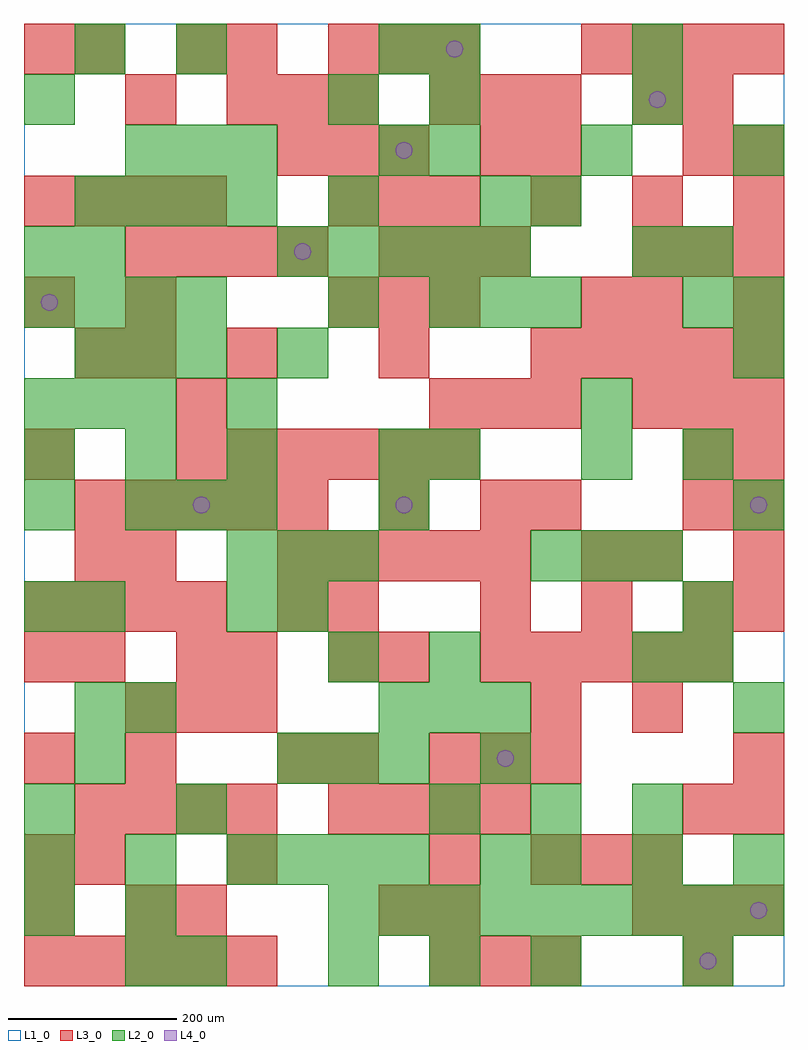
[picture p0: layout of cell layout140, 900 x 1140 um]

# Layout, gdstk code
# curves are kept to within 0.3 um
import gdstk
lib = gdstk.Library(unit=1e-6, precision=1e-09)
def R(c, l, rs):  # rectangles x0, y0, x1, y1
    for r in rs: c.add(gdstk.rectangle(r[:2], r[2:], *l))
def A(c, l, x, y, w, h, nx, ny, dx, dy):  # array of equal rectangles
    R(c, l, [(x+i*dx, y+j*dy, x+i*dx+w, y+j*dy+h) for i in range(nx) for j in range(ny)])
def P(c, l, *ps):  # polygons
    for p in ps: c.add(gdstk.Polygon(p, *l))
L1_0 = (1, 0)
L2_0 = (2, 0)
L3_0 = (3, 0)
L4_0 = (4, 0)

layout140 = lib.new_cell('layout140')
R(layout140, L1_0, [(0,0,900,1140)])
A(layout140, L2_0, 360, 0, 60, 60, 3, 1, 120, 0)
A(layout140, L2_0, 360, 60, 60, 60, 9, 1, 60, 0)
A(layout140, L2_0, 0, 120, 60, 60, 3, 2, 120, 480)
A(layout140, L2_0, 300, 120, 60, 60, 3, 2, 60, 120)
A(layout140, L2_0, 600, 120, 60, 60, 3, 1, 120, 0)
A(layout140, L2_0, 480, 180, 60, 60, 3, 1, 120, 0)
A(layout140, L2_0, 420, 300, 60, 60, 3, 1, 60, 0)
A(layout140, L2_0, 780, 420, 60, 60, 1, 3, 0, 180)
A(layout140, L2_0, 240, 480, 60, 60, 3, 1, 60, 0)
A(layout140, L2_0, 600, 480, 60, 60, 3, 1, 60, 0)
A(layout140, L2_0, 120, 540, 60, 60, 3, 2, 60, 420)
A(layout140, L2_0, 0, 660, 60, 60, 3, 1, 60, 0)
A(layout140, L2_0, 60, 720, 60, 60, 3, 1, 60, 0)
A(layout140, L2_0, 0, 780, 60, 60, 4, 1, 60, 0)
A(layout140, L2_0, 360, 780, 60, 60, 1, 3, 0, 120)
A(layout140, L2_0, 480, 780, 60, 60, 3, 1, 60, 0)
A(layout140, L2_0, 300, 840, 60, 60, 5, 1, 60, 0)
A(layout140, L2_0, 60, 900, 60, 60, 4, 1, 60, 0)
A(layout140, L2_0, 480, 960, 60, 60, 3, 1, 180, 0)
R(layout140, L2_0, [(120,0,180,60), (180,0,240,60), (780,0,840,60), (0,60,60,120), (120,60,180,120), (540,120,600,180), (0,180,60,240), (180,180,240,240), (60,240,120,300), (540,240,600,300), (60,300,120,360), (120,300,180,360), (840,300,900,360), (360,360,420,420), (480,360,540,420), (720,360,780,420), (780,360,840,420), (0,420,60,480), (60,420,120,480), (240,420,300,480), (300,420,360,480), (0,540,60,600), (420,540,480,600), (840,540,900,600), (420,600,480,660), (480,600,540,660), (660,600,720,660), (240,660,300,720), (660,660,720,720), (300,720,360,780), (840,720,900,780), (840,780,900,840), (0,840,60,900), (60,840,120,900), (720,840,780,900), (780,840,840,900), (540,900,600,960), (600,900,660,960), (420,960,480,1020), (0,1020,60,1080), (480,1020,540,1080), (720,1020,780,1080), (60,1080,120,1140), (180,1080,240,1140), (420,1080,480,1140), (480,1080,540,1140), (720,1080,780,1140)])
A(layout140, L3_0, 0, 0, 60, 60, 5, 1, 60, 0)
A(layout140, L3_0, 480, 0, 60, 60, 3, 2, 60, 240)
A(layout140, L3_0, 180, 60, 60, 60, 1, 3, 0, 300)
A(layout140, L3_0, 720, 60, 60, 60, 3, 2, 60, 600)
A(layout140, L3_0, 0, 120, 60, 60, 1, 3, 0, 120)
A(layout140, L3_0, 600, 120, 60, 60, 3, 1, 60, 0)
A(layout140, L3_0, 60, 180, 60, 60, 4, 1, 60, 0)
A(layout140, L3_0, 360, 180, 60, 60, 4, 1, 60, 0)
A(layout140, L3_0, 120, 240, 60, 60, 1, 3, 0, 240)
A(layout140, L3_0, 120, 300, 60, 60, 3, 1, 60, 0)
A(layout140, L3_0, 540, 360, 60, 60, 5, 1, 60, 0)
A(layout140, L3_0, 0, 420, 60, 60, 4, 2, 60, 480)
A(layout140, L3_0, 540, 420, 60, 60, 3, 1, 120, 0)
A(layout140, L3_0, 840, 420, 60, 60, 1, 4, 0, 60)
A(layout140, L3_0, 300, 480, 60, 60, 5, 1, 60, 0)
A(layout140, L3_0, 60, 540, 60, 60, 5, 1, 60, 0)
A(layout140, L3_0, 180, 600, 60, 60, 6, 1, 60, 0)
A(layout140, L3_0, 480, 660, 60, 60, 3, 2, 60, 360)
A(layout140, L3_0, 240, 720, 60, 60, 3, 1, 180, 0)
A(layout140, L3_0, 660, 720, 60, 60, 4, 2, 60, 360)
A(layout140, L3_0, 360, 780, 60, 60, 3, 2, 60, 120)
A(layout140, L3_0, 120, 840, 60, 60, 4, 1, 60, 0)
A(layout140, L3_0, 420, 840, 60, 60, 3, 1, 60, 0)
A(layout140, L3_0, 720, 840, 60, 60, 3, 1, 60, 0)
A(layout140, L3_0, 600, 900, 60, 60, 3, 1, 120, 0)
A(layout140, L3_0, 300, 960, 60, 60, 3, 1, 60, 0)
A(layout140, L3_0, 240, 1020, 60, 60, 3, 1, 60, 0)
A(layout140, L3_0, 360, 1080, 60, 60, 3, 1, 60, 0)
R(layout140, L3_0, [(780,0,840,60), (0,60,60,120), (120,60,180,120), (420,60,480,120), (480,60,540,120), (60,120,120,180), (240,120,300,180), (480,120,540,180), (780,180,840,240), (840,180,900,240), (300,240,360,300), (360,240,420,300), (840,240,900,300), (600,300,660,360), (720,300,780,360), (60,360,120,420), (240,360,300,420), (360,360,420,420), (420,360,480,420), (300,420,360,480), (360,420,420,480), (60,480,120,540), (660,480,720,540), (720,480,780,540), (420,540,480,600), (540,540,600,600), (600,540,660,600), (780,540,840,600), (0,600,60,660), (780,600,840,660), (60,720,120,780), (0,780,60,840), (120,780,180,840), (660,780,720,840), (720,780,780,840), (840,780,900,840), (540,960,600,1020), (600,960,660,1020), (780,960,840,1020), (840,960,900,1020), (120,1020,180,1080), (720,1020,780,1080), (780,1020,840,1080), (0,1080,60,1140), (60,1080,120,1140), (180,1080,240,1140), (240,1080,300,1140)])
P(layout140, L4_0, [(40,810),(39.239,813.827),(37.071,817.071),(33.827,819.239),(30,820),(26.173,819.239),(22.929,817.071),(20.761,813.827),(20,810),(20.761,806.173),(22.929,802.929),(26.173,800.761),(30,800),(33.827,800.761),(37.071,802.929),(39.239,806.173)],
  [(220,570),(219.239,573.827),(217.071,577.071),(213.827,579.239),(210,580),(206.173,579.239),(202.929,577.071),(200.761,573.827),(200,570),(200.761,566.173),(202.929,562.929),(206.173,560.761),(210,560),(213.827,560.761),(217.071,562.929),(219.239,566.173)],
  [(340,870),(339.239,873.827),(337.071,877.071),(333.827,879.239),(330,880),(326.173,879.239),(322.929,877.071),(320.761,873.827),(320,870),(320.761,866.173),(322.929,862.929),(326.173,860.761),(330,860),(333.827,860.761),(337.071,862.929),(339.239,866.173)],
  [(460,570),(459.239,573.827),(457.071,577.071),(453.827,579.239),(450,580),(446.173,579.239),(442.929,577.071),(440.761,573.827),(440,570),(440.761,566.173),(442.929,562.929),(446.173,560.761),(450,560),(453.827,560.761),(457.071,562.929),(459.239,566.173)],
  [(460,990),(459.239,993.827),(457.071,997.071),(453.827,999.239),(450,1000),(446.173,999.239),(442.929,997.071),(440.761,993.827),(440,990),(440.761,986.173),(442.929,982.929),(446.173,980.761),(450,980),(453.827,980.761),(457.071,982.929),(459.239,986.173)],
  [(520,1110),(519.239,1113.827),(517.071,1117.071),(513.827,1119.239),(510,1120),(506.173,1119.239),(502.929,1117.071),(500.761,1113.827),(500,1110),(500.761,1106.173),(502.929,1102.929),(506.173,1100.761),(510,1100),(513.827,1100.761),(517.071,1102.929),(519.239,1106.173)],
  [(580,270),(579.239,273.827),(577.071,277.071),(573.827,279.239),(570,280),(566.173,279.239),(562.929,277.071),(560.761,273.827),(560,270),(560.761,266.173),(562.929,262.929),(566.173,260.761),(570,260),(573.827,260.761),(577.071,262.929),(579.239,266.173)],
  [(760,1050),(759.239,1053.827),(757.071,1057.071),(753.827,1059.239),(750,1060),(746.173,1059.239),(742.929,1057.071),(740.761,1053.827),(740,1050),(740.761,1046.173),(742.929,1042.929),(746.173,1040.761),(750,1040),(753.827,1040.761),(757.071,1042.929),(759.239,1046.173)],
  [(820,30),(819.239,33.827),(817.071,37.071),(813.827,39.239),(810,40),(806.173,39.239),(802.929,37.071),(800.761,33.827),(800,30),(800.761,26.173),(802.929,22.929),(806.173,20.761),(810,20),(813.827,20.761),(817.071,22.929),(819.239,26.173)],
  [(880,90),(879.239,93.827),(877.071,97.071),(873.827,99.239),(870,100),(866.173,99.239),(862.929,97.071),(860.761,93.827),(860,90),(860.761,86.173),(862.929,82.929),(866.173,80.761),(870,80),(873.827,80.761),(877.071,82.929),(879.239,86.173)],
  [(880,570),(879.239,573.827),(877.071,577.071),(873.827,579.239),(870,580),(866.173,579.239),(862.929,577.071),(860.761,573.827),(860,570),(860.761,566.173),(862.929,562.929),(866.173,560.761),(870,560),(873.827,560.761),(877.071,562.929),(879.239,566.173)])

lib.write_gds('layout140.gds')
